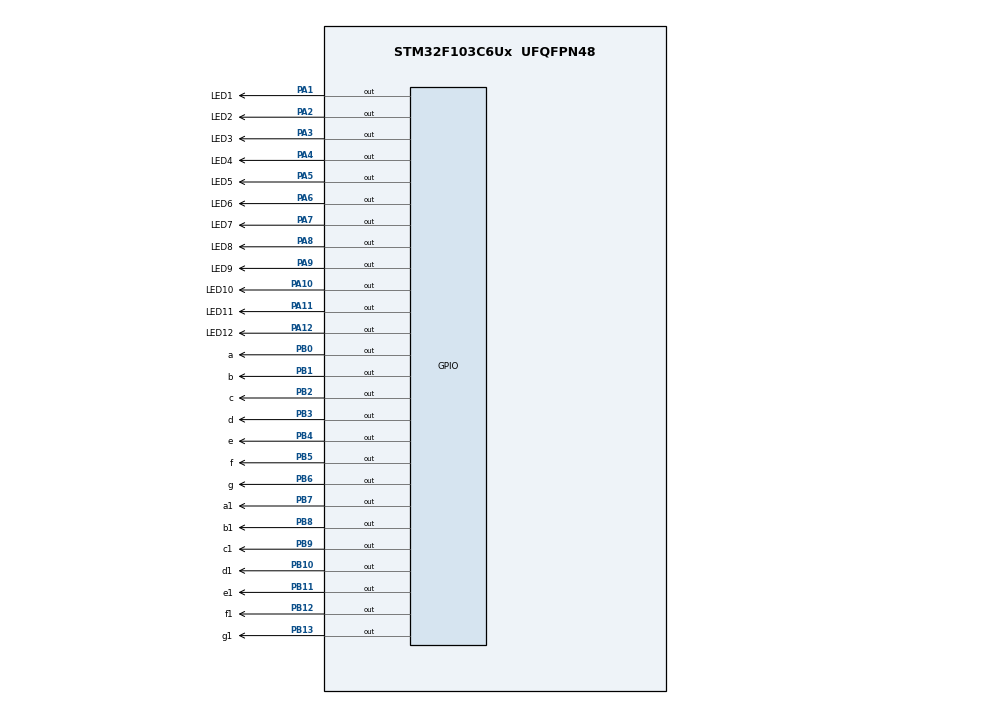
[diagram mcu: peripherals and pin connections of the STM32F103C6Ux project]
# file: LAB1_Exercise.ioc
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Mcu.Family=STM32F1
Mcu.Name=STM32F103C6Ux
Mcu.Package=UFQFPN48
NVIC.PriorityGroup=NVIC_PRIORITYGROUP_4
PA1.GPIO_Label=LED1
PA1.Signal=GPIO_Output
PA10.GPIO_Label=LED10
PA10.Signal=GPIO_Output
PA11.GPIO_Label=LED11
PA11.Signal=GPIO_Output
PA12.GPIO_Label=LED12
PA12.Signal=GPIO_Output
PA2.GPIO_Label=LED2
PA2.Signal=GPIO_Output
PA3.GPIO_Label=LED3
PA3.Signal=GPIO_Output
PA4.GPIO_Label=LED4
PA4.Signal=GPIO_Output
PA5.GPIO_Label=LED5
PA5.Signal=GPIO_Output
PA6.GPIO_Label=LED6
PA6.Signal=GPIO_Output
PA7.GPIO_Label=LED7
PA7.Signal=GPIO_Output
PA8.GPIO_Label=LED8
PA8.Signal=GPIO_Output
PA9.GPIO_Label=LED9
PA9.Signal=GPIO_Output
PB0.GPIO_Label=a
PB0.Signal=GPIO_Output
PB1.GPIO_Label=b
PB1.Signal=GPIO_Output
PB10.GPIO_Label=d1
PB10.Signal=GPIO_Output
PB11.GPIO_Label=e1
PB11.Signal=GPIO_Output
PB12.GPIO_Label=f1
PB12.Signal=GPIO_Output
PB13.GPIO_Label=g1
PB13.Signal=GPIO_Output
PB2.GPIO_Label=c
PB2.Signal=GPIO_Output
PB3.GPIO_Label=d
PB3.Signal=GPIO_Output
PB4.GPIO_Label=e
PB4.Signal=GPIO_Output
PB5.GPIO_Label=f
PB5.Signal=GPIO_Output
PB6.GPIO_Label=g
PB6.Signal=GPIO_Output
PB7.GPIO_Label=a1
PB7.Signal=GPIO_Output
PB8.GPIO_Label=b1
PB8.Signal=GPIO_Output
PB9.GPIO_Label=c1
PB9.Signal=GPIO_Output
ProjectManager.HeapSize=0x200
ProjectManager.StackSize=0x400
ProjectManager.TargetToolchain=STM32CubeIDE
RCC.APB1Freq_Value=8000000
RCC.APB2Freq_Value=8000000
VP_SYS_VS_ND.Mode=No_Debug
board=custom

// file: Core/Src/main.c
/* USER CODE BEGIN Header */
/**
  ******************************************************************************
  * @file           : main.c
  * @brief          : Main program body
  ******************************************************************************
  * @attention
  *
  * <h2><center>&copy; Copyright (c) 2025 STMicroelectronics.
  * All rights reserved.</center></h2>
  *
  * This software component is licensed by ST under BSD 3-Clause license,
  * the "License"; You may not use this file except in compliance with the
  * License. You may obtain a copy of the License at:
  *                        opensource.org/licenses/BSD-3-Clause
  *
  ******************************************************************************
  */
/* USER CODE END Header */
#include "main.h"

void SystemClock_Config(void);
static void MX_GPIO_Init(void);

/* USER CODE BEGIN 0 */
void display7SEG(int num) {
    switch (num) {
        case 0:
            HAL_GPIO_WritePin(a_GPIO_Port, a_Pin, RESET);
            HAL_GPIO_WritePin(b_GPIO_Port, b_Pin, RESET);
            HAL_GPIO_WritePin(c_GPIO_Port, c_Pin, RESET);
            HAL_GPIO_WritePin(d_GPIO_Port, d_Pin, RESET);
            HAL_GPIO_WritePin(e_GPIO_Port, e_Pin, RESET);
            HAL_GPIO_WritePin(f_GPIO_Port, f_Pin, RESET);
            HAL_GPIO_WritePin(g_GPIO_Port, g_Pin, SET);
            break;
        case 1:
            HAL_GPIO_WritePin(a_GPIO_Port, a_Pin, SET);
            HAL_GPIO_WritePin(b_GPIO_Port, b_Pin, RESET);
            HAL_GPIO_WritePin(c_GPIO_Port, c_Pin, RESET);
            HAL_GPIO_WritePin(d_GPIO_Port, d_Pin, SET);
            HAL_GPIO_WritePin(e_GPIO_Port, e_Pin, SET);
            HAL_GPIO_WritePin(f_GPIO_Port, f_Pin, SET);
            HAL_GPIO_WritePin(g_GPIO_Port, g_Pin, SET);
            break;
        case 2:
            HAL_GPIO_WritePin(a_GPIO_Port, a_Pin, RESET);
            HAL_GPIO_WritePin(b_GPIO_Port, b_Pin, RESET);
            HAL_GPIO_WritePin(c_GPIO_Port, c_Pin, SET);
            HAL_GPIO_WritePin(d_GPIO_Port, d_Pin, RESET);
            HAL_GPIO_WritePin(e_GPIO_Port, e_Pin, RESET);
            HAL_GPIO_WritePin(f_GPIO_Port, f_Pin, SET);
            HAL_GPIO_WritePin(g_GPIO_Port, g_Pin, RESET);
            break;
        case 3:
            HAL_GPIO_WritePin(a_GPIO_Port, a_Pin, RESET);
            HAL_GPIO_WritePin(b_GPIO_Port, b_Pin, RESET);
            HAL_GPIO_WritePin(c_GPIO_Port, c_Pin, RESET);
            HAL_GPIO_WritePin(d_GPIO_Port, d_Pin, RESET);
            HAL_GPIO_WritePin(e_GPIO_Port, e_Pin, SET);
            HAL_GPIO_WritePin(f_GPIO_Port, f_Pin, SET);
            HAL_GPIO_WritePin(g_GPIO_Port, g_Pin, RESET);
            break;
        case 4:
            HAL_GPIO_WritePin(a_GPIO_Port, a_Pin, SET);
            HAL_GPIO_WritePin(b_GPIO_Port, b_Pin, RESET);
            HAL_GPIO_WritePin(c_GPIO_Port, c_Pin, RESET);
            HAL_GPIO_WritePin(d_GPIO_Port, d_Pin, SET);
            HAL_GPIO_WritePin(e_GPIO_Port, e_Pin, SET);
            HAL_GPIO_WritePin(f_GPIO_Port, f_Pin, RESET);
            HAL_GPIO_WritePin(g_GPIO_Port, g_Pin, RESET);
            break;
        case 5:
            HAL_GPIO_WritePin(a_GPIO_Port, a_Pin, RESET);
            HAL_GPIO_WritePin(b_GPIO_Port, b_Pin, SET);
            HAL_GPIO_WritePin(c_GPIO_Port, c_Pin, RESET);
            HAL_GPIO_WritePin(d_GPIO_Port, d_Pin, RESET);
            HAL_GPIO_WritePin(e_GPIO_Port, e_Pin, SET);
            HAL_GPIO_WritePin(f_GPIO_Port, f_Pin, RESET);
            HAL_GPIO_WritePin(g_GPIO_Port, g_Pin, RESET);
            break;
        case 6:
            HAL_GPIO_WritePin(a_GPIO_Port, a_Pin, RESET);
            HAL_GPIO_WritePin(b_GPIO_Port, b_Pin, SET);
            HAL_GPIO_WritePin(c_GPIO_Port, c_Pin, RESET);
            HAL_GPIO_WritePin(d_GPIO_Port, d_Pin, RESET);
            HAL_GPIO_WritePin(e_GPIO_Port, e_Pin, RESET);
            HAL_GPIO_WritePin(f_GPIO_Port, f_Pin, RESET);
            HAL_GPIO_WritePin(g_GPIO_Port, g_Pin, RESET);
            break;
        case 7:
            HAL_GPIO_WritePin(a_GPIO_Port, a_Pin, RESET);
            HAL_GPIO_WritePin(b_GPIO_Port, b_Pin, RESET);
            HAL_GPIO_WritePin(c_GPIO_Port, c_Pin, RESET);
            HAL_GPIO_WritePin(d_GPIO_Port, d_Pin, SET);
            HAL_GPIO_WritePin(e_GPIO_Port, e_Pin, SET);
            HAL_GPIO_WritePin(f_GPIO_Port, f_Pin, SET);
            HAL_GPIO_WritePin(g_GPIO_Port, g_Pin, SET);
            break;
        case 8:
            HAL_GPIO_WritePin(a_GPIO_Port, a_Pin, RESET);
            HAL_GPIO_WritePin(b_GPIO_Port, b_Pin, RESET);
            HAL_GPIO_WritePin(c_GPIO_Port, c_Pin, RESET);
            HAL_GPIO_WritePin(d_GPIO_Port, d_Pin, RESET);
            HAL_GPIO_WritePin(e_GPIO_Port, e_Pin, RESET);
            HAL_GPIO_WritePin(f_GPIO_Port, f_Pin, RESET);
            HAL_GPIO_WritePin(g_GPIO_Port, g_Pin, RESET);
            break;
        case 9:
            HAL_GPIO_WritePin(a_GPIO_Port, a_Pin, RESET);
            HAL_GPIO_WritePin(b_GPIO_Port, b_Pin, RESET);
            HAL_GPIO_WritePin(c_GPIO_Port, c_Pin, RESET);
            HAL_GPIO_WritePin(d_GPIO_Port, d_Pin, RESET);
            HAL_GPIO_WritePin(e_GPIO_Port, e_Pin, SET);
            HAL_GPIO_WritePin(f_GPIO_Port, f_Pin, RESET);
            HAL_GPIO_WritePin(g_GPIO_Port, g_Pin, RESET);
            break;
        default:
            HAL_GPIO_WritePin(a_GPIO_Port, a_Pin, SET);
            HAL_GPIO_WritePin(b_GPIO_Port, b_Pin, SET);
            HAL_GPIO_WritePin(c_GPIO_Port, c_Pin, SET);
            HAL_GPIO_WritePin(d_GPIO_Port, d_Pin, SET);
            HAL_GPIO_WritePin(e_GPIO_Port, e_Pin, SET);
            HAL_GPIO_WritePin(f_GPIO_Port, f_Pin, SET);
            HAL_GPIO_WritePin(g_GPIO_Port, g_Pin, SET);
            break;
    }
}
void display7SEG2(int num) {
    switch (num) {
        case 0:
            HAL_GPIO_WritePin(a1_GPIO_Port, a1_Pin, RESET);
            HAL_GPIO_WritePin(b1_GPIO_Port, b1_Pin, RESET);
            HAL_GPIO_WritePin(c1_GPIO_Port, c1_Pin, RESET);
            HAL_GPIO_WritePin(d1_GPIO_Port, d1_Pin, RESET);
            HAL_GPIO_WritePin(e1_GPIO_Port, e1_Pin, RESET);
            HAL_GPIO_WritePin(f1_GPIO_Port, f1_Pin, RESET);
            HAL_GPIO_WritePin(g1_GPIO_Port, g1_Pin, SET);
            break;
        case 1:
            HAL_GPIO_WritePin(a1_GPIO_Port, a1_Pin, SET);
            HAL_GPIO_WritePin(b1_GPIO_Port, b1_Pin, RESET);
            HAL_GPIO_WritePin(c1_GPIO_Port, c1_Pin, RESET);
            HAL_GPIO_WritePin(d1_GPIO_Port, d1_Pin, SET);
            HAL_GPIO_WritePin(e1_GPIO_Port, e1_Pin, SET);
            HAL_GPIO_WritePin(f1_GPIO_Port, f1_Pin, SET);
            HAL_GPIO_WritePin(g1_GPIO_Port, g1_Pin, SET);
            break;
        case 2:
            HAL_GPIO_WritePin(a1_GPIO_Port, a1_Pin, RESET);
            HAL_GPIO_WritePin(b1_GPIO_Port, b1_Pin, RESET);
            HAL_GPIO_WritePin(c1_GPIO_Port, c1_Pin, SET);
            HAL_GPIO_WritePin(d1_GPIO_Port, d1_Pin, RESET);
            HAL_GPIO_WritePin(e1_GPIO_Port, e1_Pin, RESET);
            HAL_GPIO_WritePin(f1_GPIO_Port, f1_Pin, SET);
            HAL_GPIO_WritePin(g1_GPIO_Port, g1_Pin, RESET);
            break;
        case 3:
            HAL_GPIO_WritePin(a1_GPIO_Port, a1_Pin, RESET);
            HAL_GPIO_WritePin(b1_GPIO_Port, b1_Pin, RESET);
            HAL_GPIO_WritePin(c1_GPIO_Port, c1_Pin, RESET);
            HAL_GPIO_WritePin(d1_GPIO_Port, d1_Pin, RESET);
            HAL_GPIO_WritePin(e1_GPIO_Port, e1_Pin, SET);
            HAL_GPIO_WritePin(f1_GPIO_Port, f1_Pin, SET);
            HAL_GPIO_WritePin(g1_GPIO_Port, g1_Pin, RESET);
            break;
        case 4:
            HAL_GPIO_WritePin(a1_GPIO_Port, a1_Pin, SET);
            HAL_GPIO_WritePin(b1_GPIO_Port, b1_Pin, RESET);
            HAL_GPIO_WritePin(c1_GPIO_Port, c1_Pin, RESET);
            HAL_GPIO_WritePin(d1_GPIO_Port, d1_Pin, SET);
            HAL_GPIO_WritePin(e1_GPIO_Port, e1_Pin, SET);
            HAL_GPIO_WritePin(f1_GPIO_Port, f1_Pin, RESET);
            HAL_GPIO_WritePin(g1_GPIO_Port, g1_Pin, RESET);
            break;
        case 5:
            HAL_GPIO_WritePin(a1_GPIO_Port, a1_Pin, RESET);
            HAL_GPIO_WritePin(b1_GPIO_Port, b1_Pin, SET);
            HAL_GPIO_WritePin(c1_GPIO_Port, c1_Pin, RESET);
            HAL_GPIO_WritePin(d1_GPIO_Port, d1_Pin, RESET);
            HAL_GPIO_WritePin(e1_GPIO_Port, e1_Pin, SET);
            HAL_GPIO_WritePin(f1_GPIO_Port, f1_Pin, RESET);
            HAL_GPIO_WritePin(g1_GPIO_Port, g1_Pin, RESET);
            break;
        case 6:
            HAL_GPIO_WritePin(a1_GPIO_Port, a1_Pin, RESET);
            HAL_GPIO_WritePin(b1_GPIO_Port, b1_Pin, SET);
            HAL_GPIO_WritePin(c1_GPIO_Port, c1_Pin, RESET);
            HAL_GPIO_WritePin(d1_GPIO_Port, d1_Pin, RESET);
            HAL_GPIO_WritePin(e1_GPIO_Port, e1_Pin, RESET);
            HAL_GPIO_WritePin(f1_GPIO_Port, f1_Pin, RESET);
            HAL_GPIO_WritePin(g1_GPIO_Port, g1_Pin, RESET);
            break;
        case 7:
            HAL_GPIO_WritePin(a1_GPIO_Port, a1_Pin, RESET);
            HAL_GPIO_WritePin(b1_GPIO_Port, b1_Pin, RESET);
            HAL_GPIO_WritePin(c1_GPIO_Port, c1_Pin, RESET);
            HAL_GPIO_WritePin(d1_GPIO_Port, d1_Pin, SET);
            HAL_GPIO_WritePin(e1_GPIO_Port, e1_Pin, SET);
            HAL_GPIO_WritePin(f1_GPIO_Port, f1_Pin, SET);
            HAL_GPIO_WritePin(g1_GPIO_Port, g1_Pin, SET);
            break;
        case 8:
            HAL_GPIO_WritePin(a1_GPIO_Port, a1_Pin, RESET);
            HAL_GPIO_WritePin(b1_GPIO_Port, b1_Pin, RESET);
            HAL_GPIO_WritePin(c1_GPIO_Port, c1_Pin, RESET);
            HAL_GPIO_WritePin(d1_GPIO_Port, d1_Pin, RESET);
            HAL_GPIO_WritePin(e1_GPIO_Port, e1_Pin, RESET);
            HAL_GPIO_WritePin(f1_GPIO_Port, f1_Pin, RESET);
            HAL_GPIO_WritePin(g1_GPIO_Port, g1_Pin, RESET);
            break;
        case 9:
            HAL_GPIO_WritePin(a1_GPIO_Port, a1_Pin, RESET);
            HAL_GPIO_WritePin(b1_GPIO_Port, b1_Pin, RESET);
            HAL_GPIO_WritePin(c1_GPIO_Port, c1_Pin, RESET);
            HAL_GPIO_WritePin(d1_GPIO_Port, d1_Pin, RESET);
            HAL_GPIO_WritePin(e1_GPIO_Port, e1_Pin, SET);
            HAL_GPIO_WritePin(f1_GPIO_Port, f1_Pin, RESET);
            HAL_GPIO_WritePin(g1_GPIO_Port, g1_Pin, RESET);
            break;
        default:
            HAL_GPIO_WritePin(a1_GPIO_Port, a1_Pin, SET);
            HAL_GPIO_WritePin(b1_GPIO_Port, b1_Pin, SET);
            HAL_GPIO_WritePin(c1_GPIO_Port, c1_Pin, SET);
            HAL_GPIO_WritePin(d1_GPIO_Port, d1_Pin, SET);
            HAL_GPIO_WritePin(e1_GPIO_Port, e1_Pin, SET);
            HAL_GPIO_WritePin(f1_GPIO_Port, f1_Pin, SET);
            HAL_GPIO_WritePin(g1_GPIO_Port, g1_Pin, SET);
            break;
    }
}

/* USER CODE END 0 */

int main(void)
{
  /* USER CODE BEGIN 1 */
	//TEST LAB1 lan 2
  /* USER CODE END 1 */

  /* MCU Configuration--------------------------------------------------------*/

  /* Reset of all peripherals, Initializes the Flash interface and the Systick. */
  HAL_Init();

  /* Configure the system clock */
  SystemClock_Config();

  /* Initialize all configured peripherals */
  MX_GPIO_Init();

  /* Infinite loop */
  /* USER CODE BEGIN WHILE */
  int counter3 = 3;
  int counter2 = 2;
  int counter5 = 5;
  while (1)
  {
	  /* USER CODE END WHILE */
	  	  	HAL_GPIO_WritePin(LED3_GPIO_Port, LED3_Pin, SET);
	  	  	HAL_GPIO_WritePin(LED4_GPIO_Port, LED4_Pin, SET);
	  	  	HAL_GPIO_WritePin(LED9_GPIO_Port, LED9_Pin, SET);
	  	  	HAL_GPIO_WritePin(LED10_GPIO_Port, LED10_Pin, SET);
	  	  	//HAL_Delay(3000);
	  	  	while (counter5 > 2 && counter3 > 0 ){
	  	  		display7SEG(counter5);
	  	  		display7SEG2(counter3);
	  	  		counter5--;
	  	  		counter3--;
	  	  		HAL_Delay(1000);
	  	  	}
	  	  	counter3 = 3;
	  	  	HAL_GPIO_WritePin(LED3_GPIO_Port, LED3_Pin, RESET);
	  	  	HAL_GPIO_WritePin(LED9_GPIO_Port, LED9_Pin, RESET);
	  	  	HAL_GPIO_WritePin(LED2_GPIO_Port, LED2_Pin, SET);
	  	  	HAL_GPIO_WritePin(LED8_GPIO_Port, LED8_Pin, SET);
	  	  	//HAL_Delay(2000);
	  	  	while(counter5 > 0 && counter2 > 0){
	  	  		display7SEG(counter5);
	  	  		display7SEG2(counter2);
	  	  		counter5--;
	  	  		counter2--;
	  	  		HAL_Delay(1000);
	  	  	}
	  	  	counter2 = 2;
	  	  	counter5 = 5;
	  	  	HAL_GPIO_WritePin(LED4_GPIO_Port, LED4_Pin, RESET);
	  	  	HAL_GPIO_WritePin(LED10_GPIO_Port, LED10_Pin, RESET);
	  	  	HAL_GPIO_WritePin(LED6_GPIO_Port, LED6_Pin, SET);
	  	  	HAL_GPIO_WritePin(LED12_GPIO_Port, LED12_Pin, SET);
	  	  	HAL_GPIO_WritePin(LED2_GPIO_Port, LED2_Pin, RESET);
	  	  	HAL_GPIO_WritePin(LED8_GPIO_Port, LED8_Pin, RESET);
	  	  	HAL_GPIO_WritePin(LED1_GPIO_Port, LED1_Pin, SET);
	  	  	HAL_GPIO_WritePin(LED7_GPIO_Port, LED7_Pin, SET);
	  	  	//HAL_Delay(3000);
	  	  	while (counter5 > 2 && counter3 > 0 ){
	  	  	  	  display7SEG2(counter5);
	  	  	  	  display7SEG(counter3);
	  	  	  	  counter5--;
	  	  	  	  counter3--;
	  	  	  	  HAL_Delay(1000);
	  	  	 }
	  	  	counter3 = 3;
	  	  	//Next cycle
	  	  	HAL_GPIO_WritePin(LED6_GPIO_Port, LED6_Pin, RESET);
	  	  	HAL_GPIO_WritePin(LED12_GPIO_Port, LED12_Pin, RESET);
	  	  	HAL_GPIO_WritePin(LED11_GPIO_Port, LED11_Pin, SET);
	  	  	HAL_GPIO_WritePin(LED5_GPIO_Port, LED5_Pin, SET);
	  	  	//HAL_Delay(2000);
	  	  	while(counter5 > 0 && counter2 > 0){
	  	  	  	  display7SEG2(counter5);
	  	  	  	  display7SEG(counter2);
	  	  	  	  counter5--;
	  	  	  	  counter2--;
	  	  	  	  HAL_Delay(1000);
	  	  	 }
	  	  	counter2 = 2;
	  	  	counter5 = 5;
	  	  	HAL_GPIO_WritePin(LED11_GPIO_Port, LED11_Pin, RESET);
	  	  	HAL_GPIO_WritePin(LED5_GPIO_Port, LED5_Pin, RESET);
	  	  	HAL_GPIO_WritePin(LED10_GPIO_Port, LED10_Pin, SET);
	  	  	HAL_GPIO_WritePin(LED4_GPIO_Port, LED4_Pin, SET);
	  	  	HAL_GPIO_WritePin(LED3_GPIO_Port, LED3_Pin, SET);
	  	  	HAL_GPIO_WritePin(LED9_GPIO_Port, LED9_Pin, SET);
	  	  	HAL_GPIO_WritePin(LED1_GPIO_Port, LED1_Pin, RESET);
	  	  	HAL_GPIO_WritePin(LED7_GPIO_Port, LED7_Pin, RESET);
	    }

}

void SystemClock_Config(void)
{
  RCC_OscInitTypeDef RCC_OscInitStruct = {0};
  RCC_ClkInitTypeDef RCC_ClkInitStruct = {0};

  /** Initializes the RCC Oscillators according to the specified parameters
  * in the RCC_OscInitTypeDef structure.
  */
  RCC_OscInitStruct.OscillatorType = RCC_OSCILLATORTYPE_HSI;
  RCC_OscInitStruct.HSIState = RCC_HSI_ON;
  RCC_OscInitStruct.HSICalibrationValue = RCC_HSICALIBRATION_DEFAULT;
  RCC_OscInitStruct.PLL.PLLState = RCC_PLL_NONE;
  if (HAL_RCC_OscConfig(&RCC_OscInitStruct) != HAL_OK)
  {
    Error_Handler();
  }
  /** Initializes the CPU, AHB and APB buses clocks
  */
  RCC_ClkInitStruct.ClockType = RCC_CLOCKTYPE_HCLK|RCC_CLOCKTYPE_SYSCLK
                              |RCC_CLOCKTYPE_PCLK1|RCC_CLOCKTYPE_PCLK2;
  RCC_ClkInitStruct.SYSCLKSource = RCC_SYSCLKSOURCE_HSI;
  RCC_ClkInitStruct.AHBCLKDivider = RCC_SYSCLK_DIV1;
  RCC_ClkInitStruct.APB1CLKDivider = RCC_HCLK_DIV1;
  RCC_ClkInitStruct.APB2CLKDivider = RCC_HCLK_DIV1;

  if (HAL_RCC_ClockConfig(&RCC_ClkInitStruct, FLASH_LATENCY_0) != HAL_OK)
  {
    Error_Handler();
  }
}

static void MX_GPIO_Init(void)
{
  GPIO_InitTypeDef GPIO_InitStruct = {0};

  /* GPIO Ports Clock Enable */
  __HAL_RCC_GPIOA_CLK_ENABLE();
  __HAL_RCC_GPIOB_CLK_ENABLE();

  /*Configure GPIO pin Output Level */
  HAL_GPIO_WritePin(GPIOA, LED1_Pin|LED2_Pin|LED3_Pin|LED4_Pin
                          |LED5_Pin|LED6_Pin|LED7_Pin|LED8_Pin
                          |LED9_Pin|LED10_Pin|LED11_Pin|LED12_Pin, GPIO_PIN_RESET);

  /*Configure GPIO pin Output Level */
  HAL_GPIO_WritePin(GPIOB, a_Pin|b_Pin|c_Pin|d1_Pin
                          |e1_Pin|f1_Pin|g1_Pin|d_Pin
                          |e_Pin|f_Pin|g_Pin|a1_Pin
                          |b1_Pin|c1_Pin, GPIO_PIN_RESET);

  /*Configure GPIO pins : LED1_Pin LED2_Pin LED3_Pin LED4_Pin
                           LED5_Pin LED6_Pin LED7_Pin LED8_Pin
                           LED9_Pin LED10_Pin LED11_Pin LED12_Pin */
  GPIO_InitStruct.Pin = LED1_Pin|LED2_Pin|LED3_Pin|LED4_Pin
                          |LED5_Pin|LED6_Pin|LED7_Pin|LED8_Pin
                          |LED9_Pin|LED10_Pin|LED11_Pin|LED12_Pin;
  GPIO_InitStruct.Mode = GPIO_MODE_OUTPUT_PP;
  GPIO_InitStruct.Pull = GPIO_NOPULL;
  GPIO_InitStruct.Speed = GPIO_SPEED_FREQ_LOW;
  HAL_GPIO_Init(GPIOA, &GPIO_InitStruct);

  /*Configure GPIO pins : a_Pin b_Pin c_Pin d1_Pin
                           e1_Pin f1_Pin g1_Pin d_Pin
                           e_Pin f_Pin g_Pin a1_Pin
                           b1_Pin c1_Pin */
  GPIO_InitStruct.Pin = a_Pin|b_Pin|c_Pin|d1_Pin
                          |e1_Pin|f1_Pin|g1_Pin|d_Pin
                          |e_Pin|f_Pin|g_Pin|a1_Pin
                          |b1_Pin|c1_Pin;
  GPIO_InitStruct.Mode = GPIO_MODE_OUTPUT_PP;
  GPIO_InitStruct.Pull = GPIO_NOPULL;
  GPIO_InitStruct.Speed = GPIO_SPEED_FREQ_LOW;
  HAL_GPIO_Init(GPIOB, &GPIO_InitStruct);

}

void Error_Handler(void)
{
  __disable_irq();
  while (1)
  {
  }
}

/************************ (C) COPYRIGHT STMicroelectronics *****END OF FILE****/
